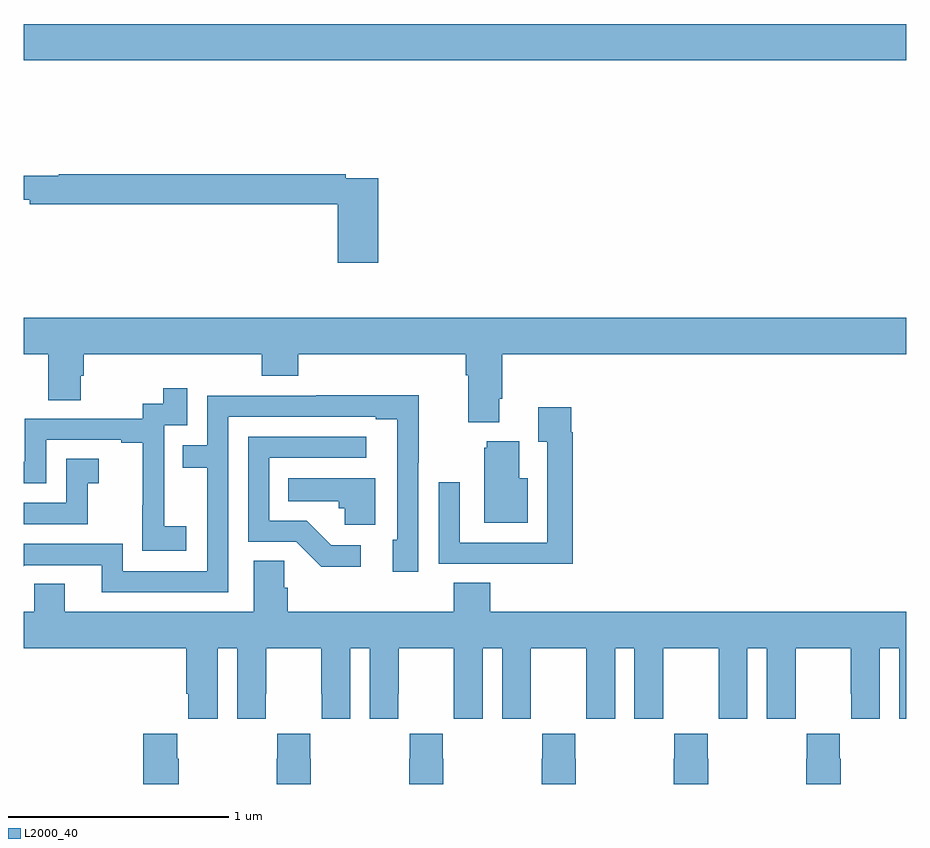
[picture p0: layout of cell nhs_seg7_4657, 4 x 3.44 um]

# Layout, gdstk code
import gdstk
lib = gdstk.Library(unit=1e-6, precision=1e-09)
def R(c, l, rs):  # rectangles x0, y0, x1, y1
    for r in rs: c.add(gdstk.rectangle(r[:2], r[2:], *l))
def P(c, l, *ps):  # polygons
    for p in ps: c.add(gdstk.Polygon(p, *l))
L2000_40 = (2000, 40)

nhs_seg7_4657 = lib.new_cell('nhs_seg7_4657')
R(nhs_seg7_4657, L2000_40, [(405,1003.28,409,1003.444)])
P(nhs_seg7_4657, L2000_40, [(406.607,1002.744),(406.46,1002.744),(406.46,1002.764),(405.16,1002.764),(405.16,1002.757),(405,1002.757),(405,1002.647),(405.028,1002.647),(405.028,1002.628),(406.424,1002.628),(406.424,1002.363),(406.607,1002.363)],
  [(407.155,1001.746),(407.168,1001.746),(407.168,1001.948),(409,1001.948),(409,1002.112),(405,1002.112),(405,1001.948),(405.112,1001.948),(405.112,1001.74),(405.259,1001.74),(405.259,1001.85),(405.272,1001.85),(405.272,1001.948),(406.079,1001.948),(406.079,1001.849),(406.244,1001.849),(406.244,1001.948),(407.003,1001.948),(407.003,1001.852),(407.015,1001.852),(407.015,1001.639),(407.155,1001.639)],
  [(405.736,1001.167),(405.638,1001.167),(405.638,1001.396),(405.636,1001.396),(405.636,1001.625),(405.741,1001.625),(405.741,1001.794),(405.633,1001.794),(405.633,1001.724),(405.54,1001.724),(405.54,1001.655),(405.006,1001.655),(405.006,1001.46),(405,1001.46),(405,1001.364),(405.102,1001.364),(405.102,1001.559),(405.443,1001.559),(405.443,1001.547),(405.539,1001.547),(405.539,1001.263),(405.538,1001.263),(405.538,1001.057),(405.736,1001.057)],
  [(405.927,1001.664),(406.595,1001.664),(406.595,1001.652),(406.692,1001.652),(406.692,1001.106),(406.673,1001.106),(406.673,1000.962),(406.788,1000.962),(406.788,1001.455),(406.791,1001.455),(406.791,1001.762),(406.327,1001.762),(406.327,1001.76),(405.831,1001.76),(405.831,1001.535),(405.721,1001.535),(405.721,1001.434),(405.831,1001.434),(405.831,1000.965),(405.45,1000.965),(405.45,1001.088),(405,1001.088),(405,1000.986),(405.006,1000.992),(405.353,1000.992),(405.353,1000.869),(405.927,1000.869)],
  [(407.489,1001.594),(407.482,1001.594),(407.482,1001.707),(407.333,1001.707),(407.333,1001.551),(407.373,1001.551),(407.373,1001.094),(406.977,1001.094),(406.977,1001.368),(406.881,1001.368),(406.881,1000.998),(407.197,1000.998),(407.197,1000.997),(407.489,1000.997)],
  [(406.528,1001.082),(406.393,1001.082),(406.282,1001.193),(406.113,1001.193),(406.113,1001.478),(406.552,1001.478),(406.552,1001.574),(406.017,1001.574),(406.017,1001.097),(406.236,1001.097),(406.349,1000.985),(406.528,1000.985)],
  [(407.284,1001.386),(407.245,1001.386),(407.245,1001.554),(407.099,1001.554),(407.099,1001.523),(407.087,1001.523),(407.087,1001.183),(407.284,1001.183)],
  [(405.291,1001.363),(405.34,1001.363),(405.34,1001.473),(405.192,1001.473),(405.192,1001.274),(405,1001.274),(405,1001.178),(405.291,1001.178)],
  [(406.594,1001.386),(406.198,1001.386),(406.198,1001.282),(406.429,1001.282),(406.429,1001.25),(406.455,1001.25),(406.455,1001.174),(406.594,1001.174)],
  [(405.88,1000.616),(405.968,1000.616),(405.968,1000.296),(406.098,1000.296),(406.098,1000.408),(406.099,1000.408),(406.099,1000.616),(406.349,1000.616),(406.349,1000.408),(406.35,1000.408),(406.35,1000.296),(406.48,1000.296),(406.48,1000.616),(406.568,1000.616),(406.568,1000.296),(406.698,1000.296),(406.698,1000.408),(406.699,1000.408),(406.699,1000.616),(406.949,1000.616),(406.949,1000.408),(406.95,1000.408),(406.95,1000.296),(407.08,1000.296),(407.08,1000.616),(407.168,1000.616),(407.168,1000.296),(407.298,1000.296),(407.298,1000.408),(407.299,1000.408),(407.299,1000.616),(407.549,1000.616),(407.549,1000.408),(407.55,1000.408),(407.55,1000.296),(407.68,1000.296),(407.68,1000.616),(407.768,1000.616),(407.768,1000.296),(407.898,1000.296),(407.898,1000.408),(407.899,1000.408),(407.899,1000.616),(408.149,1000.616),(408.149,1000.408),(408.15,1000.408),(408.15,1000.296),(408.28,1000.296),(408.28,1000.616),(408.368,1000.616),(408.368,1000.296),(408.498,1000.296),(408.498,1000.408),(408.499,1000.408),(408.499,1000.616),(408.749,1000.616),(408.749,1000.408),(408.75,1000.408),(408.75,1000.296),(408.88,1000.296),(408.88,1000.616),(408.968,1000.616),(408.968,1000.296),(409,1000.296),(409,1000.78),(407.114,1000.78),(407.114,1000.913),(406.949,1000.913),(406.949,1000.78),(406.196,1000.78),(406.196,1000.889),(406.182,1000.889),(406.182,1001.012),(406.043,1001.012),(406.043,1000.78),(405.187,1000.78),(405.187,1000.907),(405.048,1000.907),(405.048,1000.78),(405,1000.78),(405,1000.616),(405.737,1000.616),(405.737,1000.408),(405.746,1000.408),(405.746,1000.296),(405.88,1000.296)],
  [(405.702,1000.115),(405.695,1000.115),(405.695,1000.228),(405.542,1000.228),(405.542,1000),(405.702,1000)],
  [(406.302,1000.115),(406.299,1000.115),(406.299,1000.228),(406.149,1000.228),(406.149,1000.115),(406.147,1000.115),(406.147,1000),(406.302,1000)],
  [(406.902,1000.115),(406.899,1000.115),(406.899,1000.228),(406.749,1000.228),(406.749,1000.115),(406.747,1000.115),(406.747,1000),(406.902,1000)],
  [(407.502,1000.115),(407.499,1000.115),(407.499,1000.228),(407.349,1000.228),(407.349,1000.115),(407.347,1000.115),(407.347,1000),(407.502,1000)],
  [(408.102,1000.115),(408.099,1000.115),(408.099,1000.228),(407.949,1000.228),(407.949,1000.115),(407.947,1000.115),(407.947,1000),(408.102,1000)],
  [(408.702,1000.115),(408.699,1000.115),(408.699,1000.228),(408.549,1000.228),(408.549,1000.115),(408.547,1000.115),(408.547,1000),(408.702,1000)])

lib.write_gds('nhs_seg7_4657.gds')
